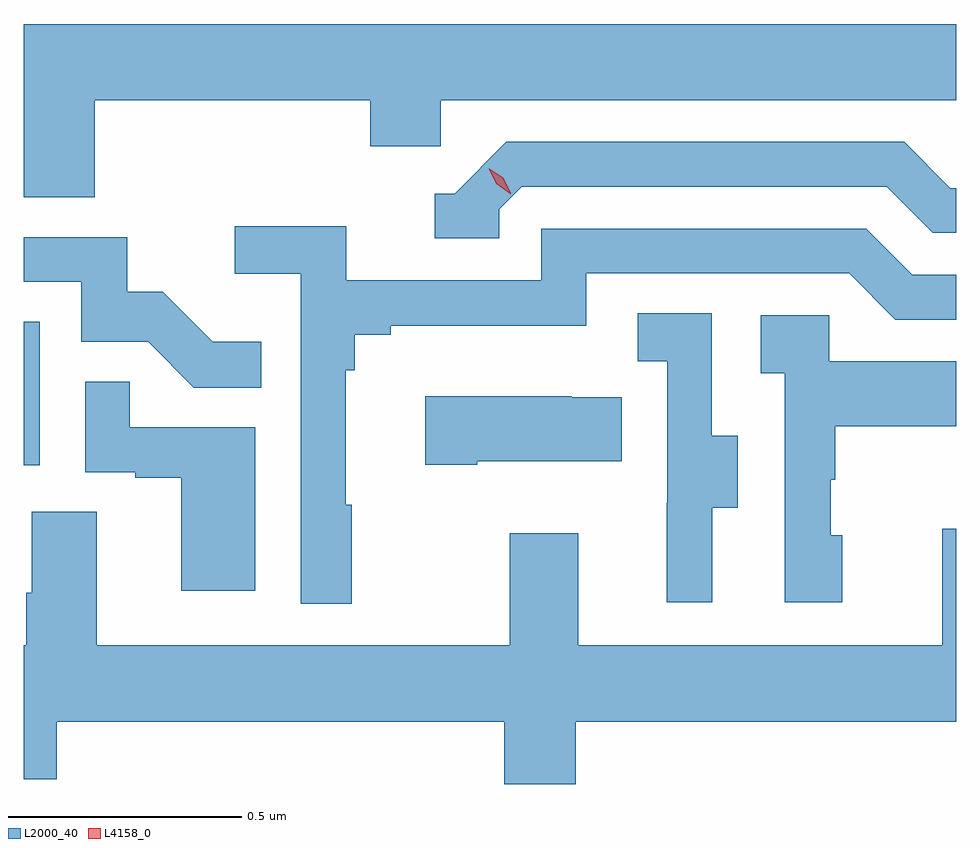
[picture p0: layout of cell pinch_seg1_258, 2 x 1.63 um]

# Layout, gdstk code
import gdstk
lib = gdstk.Library(unit=1e-6, precision=1e-09)
def R(c, l, rs):  # rectangles x0, y0, x1, y1
    for r in rs: c.add(gdstk.rectangle(r[:2], r[2:], *l))
def P(c, l, *ps):  # polygons
    for p in ps: c.add(gdstk.Polygon(p, *l))
L2000_40 = (2000, 40)
L4158_0 = (4158, 0)

pinch_seg1_258 = lib.new_cell('pinch_seg1_258')
R(pinch_seg1_258, L2000_40, [(909.594,574.926,909.628,575.233)])
P(pinch_seg1_258, L2000_40, [(909.746,575.708),(910.337,575.708),(910.337,575.61),(910.488,575.61),(910.488,575.708),(911.594,575.708),(911.594,575.872),(909.594,575.872),(909.594,575.5),(909.746,575.5)],
  [(910.614,575.475),(910.662,575.523),(911.445,575.523),(911.544,575.424),(911.594,575.424),(911.594,575.52),(911.581,575.52),(911.482,575.619),(910.629,575.619),(910.518,575.508),(910.475,575.508),(910.475,575.412),(910.614,575.412)],
  [(910.297,574.841),(910.285,574.841),(910.285,575.129),(910.304,575.129),(910.304,575.206),(910.381,575.206),(910.381,575.225),(910.8,575.225),(910.8,575.337),(911.364,575.337),(911.463,575.238),(911.594,575.238),(911.594,575.334),(911.5,575.334),(911.401,575.433),(910.704,575.433),(910.704,575.322),(910.286,575.322),(910.286,575.438),(910.047,575.438),(910.047,575.336),(910.188,575.336),(910.188,574.629),(910.297,574.629)],
  [(910.103,575.191),(909.999,575.191),(909.892,575.298),(909.816,575.298),(909.816,575.415),(909.594,575.415),(909.594,575.319),(909.717,575.319),(909.717,575.19),(909.861,575.19),(909.959,575.092),(910.103,575.092)],
  [(911.071,574.834),(911.125,574.834),(911.125,574.989),(911.07,574.989),(911.07,575.252),(910.911,575.252),(910.911,575.149),(910.974,575.149),(910.974,574.845),(910.973,574.845),(910.973,574.632),(911.071,574.632)],
  [(911.35,574.776),(911.325,574.776),(911.325,574.895),(911.335,574.895),(911.335,575.009),(911.594,575.009),(911.594,575.149),(911.322,575.149),(911.322,575.247),(911.175,575.247),(911.175,575.123),(911.226,575.123),(911.226,574.632),(911.35,574.632)],
  [(910.09,575.007),(909.821,575.007),(909.821,575.105),(909.726,575.105),(909.726,574.911),(909.833,574.911),(909.833,574.899),(909.932,574.899),(909.932,574.656),(910.09,574.656)],
  [(910.567,574.934),(910.877,574.934),(910.877,575.071),(910.769,575.071),(910.769,575.074),(910.455,575.074),(910.455,574.927),(910.567,574.927)],
  [(910.778,574.376),(911.594,574.376),(911.594,574.789),(911.564,574.789),(911.564,574.54),(910.783,574.54),(910.783,574.78),(910.636,574.78),(910.636,574.54),(909.751,574.54),(909.751,574.826),(909.611,574.826),(909.611,574.652),(909.599,574.652),(909.599,574.54),(909.594,574.54),(909.594,574.252),(909.665,574.252),(909.665,574.376),(910.625,574.376),(910.625,574.242),(910.778,574.242)])
P(pinch_seg1_258, L4158_0, [(910.637,575.508),(910.607,575.529),(910.591,575.562),(910.591,575.562),(910.592,575.562),(910.622,575.542),(910.638,575.509),(910.638,575.508)])

lib.write_gds('pinch_seg1_258.gds')
